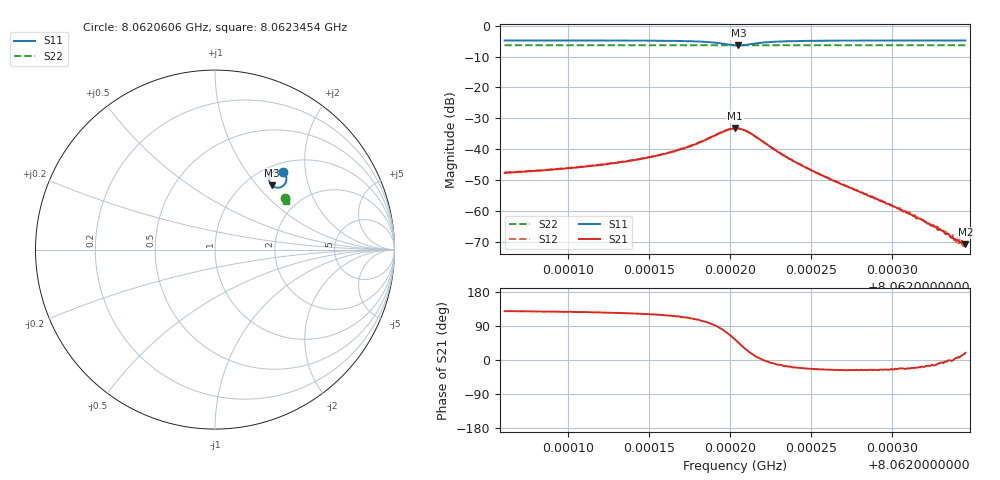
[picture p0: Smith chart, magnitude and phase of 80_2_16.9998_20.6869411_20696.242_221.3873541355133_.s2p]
#  HZ  S  RI  R  50.00
! Rohde & Schwarz Vector Network Analyzer
! Rohde-Schwarz,ZNB20-2Port,1311601062101988,3.16
! Created: UTC 3/20/2024, 10:55:41 PM
! freq[Hz]  re:S11  im:S11  re:S21  im:S21  re:S12  im:S12  re:S22  im:S22
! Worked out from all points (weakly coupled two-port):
!   401 points, 8.0620606 GHz to 8.0623454 GHz, reference 50 ohm
!   highest |S21| = -33.26 dB at 8.062203 GHz (marker M1); lowest = -70.8 dB at 8.0623454 GHz (marker M2)
!   lowest |S11| = -6.4 dB at 8.0622052 GHz (marker M3), VSWR 2.83, Z = 64.9 + j60.2 ohm
!   |S11| at or under -10 dB: nowhere
!   |S22| runs from -6.4 to -6.3 dB; largest |S21 - S12| = 0.0016
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8.06206063e9  0.381 0.4314  -0.00258 0.00322  -0.00243 0.00343  0.3879 0.2867
8.06210834e9  0.3864 0.4249  -0.00307 0.00412  -0.00286 0.00437  0.3896 0.284
8.06213753e9  0.3911 0.4183  -0.00355 0.00539  -0.00325 0.00565  0.3905 0.2825
8.06215604e9  0.3948 0.4105  -0.00389 0.00695  -0.00352 0.00725  0.3911 0.2813
8.06217242e9  0.3978 0.3972  -0.00404 0.00981  -0.00333 0.0101  0.3917 0.2798
8.06218808e9  0.3916 0.3693  -0.00157 0.0155  -0.000624 0.0156  0.3913 0.2781
8.06219805e9  0.3592 0.3458  0.00626 0.0193  0.00756 0.0191  0.3899 0.2771
8.06220304e9  0.3289 0.3496  0.0127 0.0176  0.0139 0.0168  0.3889 0.2775
8.06220517e9  0.317 0.3576  0.0149 0.0154  0.0162 0.0145  0.3886 0.2779
8.06221087e9  0.3015 0.3902  0.0174 0.00795  0.018 0.00669  0.3886 0.2792
8.06222155e9  0.3189 0.4305  0.0126 -0.000462  0.0126 -0.00117  0.3904 0.2801
8.06223294e9  0.3404 0.4407  0.00763 -0.00208  0.00758 -0.00247  0.3917 0.2798
8.06225075e9  0.3578 0.4408  0.0041 -0.00179  0.00401 -0.00206  0.393 0.2788
8.06229845e9  0.3746 0.4348  0.00115 -0.000562  0.00112 -0.000602  0.3951 0.2761
8.06231839e9  0.3781 0.4328  0.000686 -0.000216  0.000664 -0.000293  0.3958 0.275
8.06232551e9  0.3792 0.4323  0.000571 -0.000146  0.000539 -0.000161  0.396 0.2746
8.06233263e9  0.3802 0.4315  0.000436 -3.05e-05  0.000441 -8.79e-05  0.3964 0.2741
8.06233904e9  0.3807 0.431  0.000351 2.44e-05  0.000339 -2.59e-06  0.3966 0.2737
8.06233975e9  0.3809 0.431  0.000341 3.17e-05  0.00031 -1.99e-05  0.3967 0.2738
8.06234189e9  0.3811 0.4308  0.000304 3.53e-05  0.00036 -1.37e-06  0.3967 0.2739
8.06234474e9  0.3817 0.4307  0.000298 8.35e-05  0.000275 5.43e-05  0.3967 0.2734
8.06234545e9  0.3816 0.4305  0.000274 9.32e-05  0.000312 6.07e-05  0.3969 0.2736
